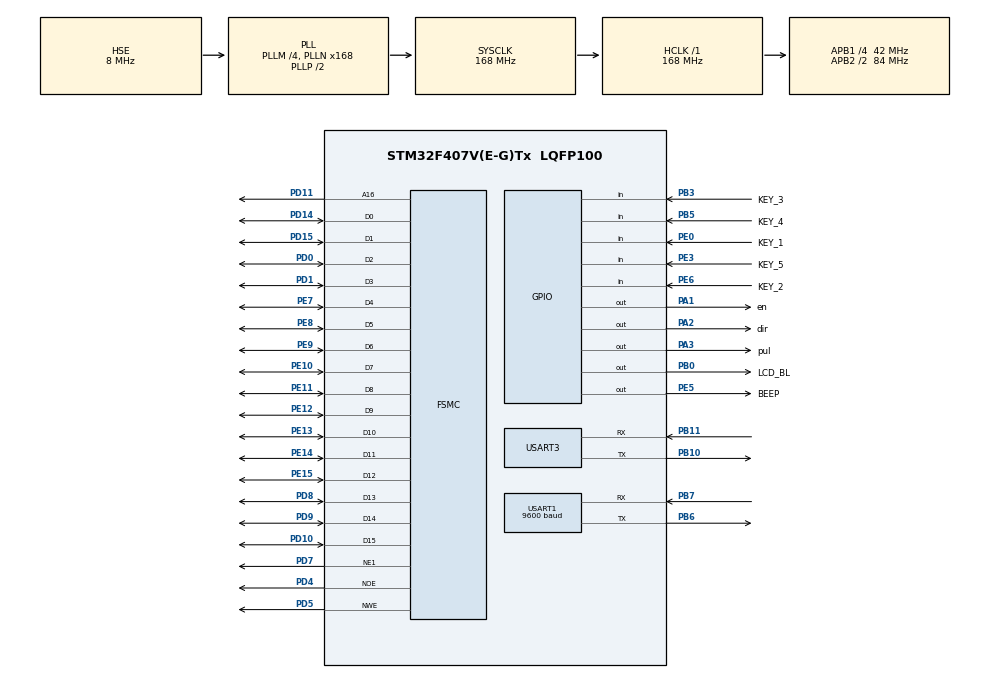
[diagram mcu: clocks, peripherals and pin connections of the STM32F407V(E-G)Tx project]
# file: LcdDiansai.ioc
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Dma.Request0=USART1_RX
Dma.Request1=USART3_RX
Dma.USART1_RX.0.Direction=DMA_PERIPH_TO_MEMORY
Dma.USART1_RX.0.FIFOMode=DMA_FIFOMODE_DISABLE
Dma.USART1_RX.0.Instance=DMA2_Stream2
Dma.USART1_RX.0.MemDataAlignment=DMA_MDATAALIGN_BYTE
Dma.USART1_RX.0.MemInc=DMA_MINC_ENABLE
Dma.USART1_RX.0.Mode=DMA_NORMAL
Dma.USART1_RX.0.PeriphDataAlignment=DMA_PDATAALIGN_BYTE
Dma.USART1_RX.0.PeriphInc=DMA_PINC_DISABLE
Dma.USART1_RX.0.Priority=DMA_PRIORITY_LOW
Dma.USART3_RX.1.Direction=DMA_PERIPH_TO_MEMORY
Dma.USART3_RX.1.FIFOMode=DMA_FIFOMODE_DISABLE
Dma.USART3_RX.1.Instance=DMA1_Stream1
Dma.USART3_RX.1.MemDataAlignment=DMA_MDATAALIGN_BYTE
Dma.USART3_RX.1.MemInc=DMA_MINC_ENABLE
Dma.USART3_RX.1.Mode=DMA_NORMAL
Dma.USART3_RX.1.PeriphDataAlignment=DMA_PDATAALIGN_BYTE
Dma.USART3_RX.1.PeriphInc=DMA_PINC_DISABLE
Dma.USART3_RX.1.Priority=DMA_PRIORITY_LOW
FSMC.DataSetupTime1=60
FSMC.ExtendedAddressSetupTime1=9
FSMC.ExtendedBusTurnAroundDuration1=0
FSMC.ExtendedDataSetupTime1=8
FSMC.ExtendedMode1=FSMC_EXTENDED_MODE_ENABLE
Mcu.Family=STM32F4
Mcu.Name=STM32F407V(E-G)Tx
Mcu.Package=LQFP100
NVIC.DMA1_Stream1_IRQn=true\:0\:0\:false\:false\:true\:false\:true\:true
NVIC.DMA2_Stream2_IRQn=true\:0\:0\:false\:false\:true\:false\:true\:true
NVIC.PriorityGroup=NVIC_PRIORITYGROUP_4
NVIC.USART1_IRQn=true\:0\:0\:false\:false\:true\:true\:true\:true
NVIC.USART3_IRQn=true\:0\:0\:false\:false\:true\:true\:true\:true
PA1.GPIO_Label=en
PA1.Signal=GPIO_Output
PA13.Mode=Serial_Wire
PA13.Signal=SYS_JTMS-SWDIO
PA14.Mode=Serial_Wire
PA14.Signal=SYS_JTCK-SWCLK
PA2.GPIO_Label=dir
PA2.Signal=GPIO_Output
PA3.GPIO_Label=pul
PA3.Signal=GPIO_Output
PB0.GPIO_Label=LCD_BL
PB0.GPIO_PuPd=GPIO_PULLUP
PB0.GPIO_Speed=GPIO_SPEED_FREQ_LOW
PB0.PinState=GPIO_PIN_SET
PB0.Signal=GPIO_Output
PB10.Mode=Asynchronous
PB10.Signal=USART3_TX
PB11.Mode=Asynchronous
PB11.Signal=USART3_RX
PB3.GPIO_Label=KEY_3
PB3.Signal=GPIO_Input
PB5.GPIO_Label=KEY_4
PB5.Signal=GPIO_Input
PB6.Mode=Asynchronous
PB6.Signal=USART1_TX
PB7.Mode=Asynchronous
PB7.Signal=USART1_RX
PC14-OSC32_IN.Mode=LSE-External-Oscillator
PC14-OSC32_IN.Signal=RCC_OSC32_IN
PC15-OSC32_OUT.Mode=LSE-External-Oscillator
PC15-OSC32_OUT.Signal=RCC_OSC32_OUT
PD0.Mode=16b-d1
PD0.Signal=FSMC_D2
PD1.Mode=16b-d1
PD1.Signal=FSMC_D3
PD10.Mode=16b-d1
PD10.Signal=FSMC_D15
PD11.Mode=A16_1
PD11.Signal=FSMC_A16
PD14.Mode=16b-d1
PD14.Signal=FSMC_D0
PD15.Mode=16b-d1
PD15.Signal=FSMC_D1
PD4.Mode=Lcd1
PD4.Signal=FSMC_NOE
PD5.Mode=Lcd1
PD5.Signal=FSMC_NWE
PD7.Mode=NorPsramChipSelect1_1
PD7.Signal=FSMC_NE1
PD8.Mode=16b-d1
PD8.Signal=FSMC_D13
PD9.Mode=16b-d1
PD9.Signal=FSMC_D14
PE0.GPIO_Label=KEY_1
PE0.Signal=GPIO_Input
PE10.Mode=16b-d1
PE10.Signal=FSMC_D7
PE11.Mode=16b-d1
PE11.Signal=FSMC_D8
PE12.Mode=16b-d1
PE12.Signal=FSMC_D9
PE13.Mode=16b-d1
PE13.Signal=FSMC_D10
PE14.Mode=16b-d1
PE14.Signal=FSMC_D11
PE15.Mode=16b-d1
PE15.Signal=FSMC_D12
PE3.GPIO_Label=KEY_5
PE3.Signal=GPIO_Input
PE5.GPIO_Label=BEEP
PE5.Signal=GPIO_Output
PE6.GPIO_Label=KEY_2
PE6.Signal=GPIO_Input
PE7.Mode=16b-d1
PE7.Signal=FSMC_D4
PE8.Mode=16b-d1
PE8.Signal=FSMC_D5
PE9.Mode=16b-d1
PE9.Signal=FSMC_D6
PH0-OSC_IN.Mode=HSE-External-Oscillator
PH0-OSC_IN.Signal=RCC_OSC_IN
PH1-OSC_OUT.Mode=HSE-External-Oscillator
PH1-OSC_OUT.Signal=RCC_OSC_OUT
ProjectManager.HeapSize=0x200
ProjectManager.StackSize=0x400
ProjectManager.TargetToolchain=MDK-ARM V5.32
RCC.48MHZClocksFreq_Value=84000000
RCC.AHBFreq_Value=168000000
RCC.APB1CLKDivider=RCC_HCLK_DIV4
RCC.APB1Freq_Value=42000000
RCC.APB1TimFreq_Value=84000000
RCC.APB2CLKDivider=RCC_HCLK_DIV2
RCC.APB2Freq_Value=84000000
RCC.APB2TimFreq_Value=168000000
RCC.CortexFreq_Value=168000000
RCC.HCLKFreq_Value=168000000
RCC.HSE_VALUE=8000000
RCC.HSI_VALUE=16000000
RCC.PLLM=4
RCC.PLLN=168
RCC.PLLSourceVirtual=RCC_PLLSOURCE_HSE
RCC.SYSCLKFreq_VALUE=168000000
RCC.SYSCLKSource=RCC_SYSCLKSOURCE_PLLCLK
RCC.VCOOutputFreq_Value=336000000
TIM5.Prescaler=83
USART1.BaudRate=9600
USART1.VirtualMode=VM_ASYNC
USART3.VirtualMode=VM_ASYNC
VP_TIM5_VS_ClockSourceINT.Mode=Internal
board=custom

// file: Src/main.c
/* USER CODE BEGIN Header */
/**
  ******************************************************************************
  * @file           : main.c
  * @brief          : Main program body
  ******************************************************************************
  * @attention
  *
  * Copyright (c) 2022 STMicroelectronics.
  * All rights reserved.
  *
  * This software is licensed under terms that can be found in the LICENSE file
  * in the root directory of this software component.
  * If no LICENSE file comes with this software, it is provided AS-IS.
  *
  ******************************************************************************
  */
/* USER CODE END Header */
#include "main.h"
#include "dma.h"
#include "tim.h"
#include "usart.h"
#include "gpio.h"
#include "fsmc.h"

/* USER CODE BEGIN Includes */
#include "lcd.h"
#include "laser.h"
#include "vmsgexec.h"
#include <string.h>
#include <stdio.h>
#include "duoji.h"
#include <math.h>
/* USER CODE END Includes */

void SystemClock_Config(void);

/* USER CODE BEGIN 0 */
void beep_on(void)
{
  HAL_GPIO_WritePin(BEEP_GPIO_Port, BEEP_Pin, GPIO_PIN_RESET);
}

void beep_off(void)
{
  HAL_GPIO_WritePin(BEEP_GPIO_Port, BEEP_Pin, GPIO_PIN_SET);
}

#define KEY_DELAY_TIME 30
#define KEY_NULL 0
#define KEY_1 1
#define KEY_2 2
#define KEY_3 3
#define KEY_4 4
#define KEY_5 5
/**
 * @brief 扫描按键
 *
 * @return uint8_t 返回按键的�?�，0 为没有按下按�???
 */
uint8_t key_scan()
{
  if (HAL_GPIO_ReadPin(KEY_1_GPIO_Port, KEY_1_Pin) == GPIO_PIN_RESET) {
    HAL_Delay(KEY_DELAY_TIME);
    if (HAL_GPIO_ReadPin(KEY_1_GPIO_Port, KEY_1_Pin) == GPIO_PIN_RESET) {
      return KEY_1;
    }
  }
  else if (HAL_GPIO_ReadPin(KEY_2_GPIO_Port, KEY_2_Pin) == GPIO_PIN_RESET) {
    HAL_Delay(KEY_DELAY_TIME);
    if (HAL_GPIO_ReadPin(KEY_2_GPIO_Port, KEY_2_Pin) == GPIO_PIN_RESET) {
      return KEY_2;
    }
  }
   else if (HAL_GPIO_ReadPin(KEY_3_GPIO_Port, KEY_3_Pin) == GPIO_PIN_RESET) {
    HAL_Delay(KEY_DELAY_TIME);
    if (HAL_GPIO_ReadPin(KEY_3_GPIO_Port, KEY_3_Pin) == GPIO_PIN_RESET) {
      return KEY_3;
    }
  }
  else if (HAL_GPIO_ReadPin(KEY_4_GPIO_Port, KEY_4_Pin) == GPIO_PIN_RESET) {
    HAL_Delay(KEY_DELAY_TIME);
    if (HAL_GPIO_ReadPin(KEY_4_GPIO_Port, KEY_4_Pin) == GPIO_PIN_RESET) {
      return KEY_4;
    }
  }
  else if (HAL_GPIO_ReadPin(KEY_5_GPIO_Port, KEY_5_Pin) == GPIO_PIN_RESET) {
    HAL_Delay(KEY_DELAY_TIME);
    if (HAL_GPIO_ReadPin(KEY_5_GPIO_Port, KEY_5_Pin) == GPIO_PIN_RESET) {
      return KEY_5;
    }
  }

  return KEY_NULL;
}

#define myprintf(...)  HAL_UART_Transmit((UART_HandleTypeDef *)&huart3, (uint8_t *)u_buf,\
		                                sprintf((char*)u_buf,__VA_ARGS__), 0xFFFF);
uint8_t u_buf[256];

enum find_status  {FINDING_OBJ = 0, FIND_SIT = 1};
enum way_to_go  {ZHEN = 0, FAN = 1, JINZHI = 2};
volatile enum find_status nom_find_status = FINDING_OBJ;
enum way_to_go nom_way_to_go = JINZHI;
volatile uint8_t way_flag = 0; // 0 正转 1 反转

/**
 * 如果发现了对象
 *  根据当前的电机状态，如果正在正转，则状态为搜索对象边沿
 *
 *  如果搜索到对象边沿，反向，记录，继续运行
 *
 */

typedef struct scan_object_t{
  volatile	uint8_t fundobject;
  volatile	float min_len;
  volatile	float min_angle;
  volatile	uint8_t count;
	Date date[6];
}scan_object_t;

//此结构体用于第四问追踪物体
typedef struct scan_find_object_t{
  volatile	uint8_t fundobject;
  volatile	float min_len;
  volatile	float min_angle;
  volatile	uint8_t count;
  Date date_old;        //最少11
	Date date_nom;        //最少11
}scan_find_object_t;

scan_object_t scan_object={0};
scan_find_object_t scan_find_object={0};

void scan_init()
{
  memset(&scan_object, 0, sizeof(scan_object_t));
}

/**
 * @brief  处理消息队列中的消息，已经pop到了nowmsg�????
 * @note
 * @retval None
 */
void step1_handle_msg(msg_t * pmsg)
{
	if(scan_object.fundobject == 0){		//第一
    if(pmsg->msgdata.len *100  < 81){
			myprintf("scan_object.fundobject------------------------------\r\n");
			scan_object.min_len = pmsg->msgdata.len;
			scan_object.min_angle = pmsg->msgdata.angle;
			scan_object.fundobject = 1;

		}
		// else{
		// 	if(scan_object.min_len > pmsg->msgdata.len){
		// 		scan_object.min_len = pmsg->msgdata.len;
		// 	}
		// }
	}
  else {
    if(scan_object.min_len > pmsg->msgdata.len){
      scan_object.min_len = pmsg->msgdata.len;
    }

    if (pmsg->msgdata.len *100  >= 81){
      //接口---返回距离
      scan_object.fundobject = 0;
      scan_object.date[scan_object.count].len = scan_object.min_len;
      scan_object.date[scan_object.count].angle = scan_object.min_angle;
      myprintf("The count = %d, len = %f, angle=%f\r\n ",
        scan_object.count,
        scan_object.date[scan_object.count].len * 100,
        scan_object.min_angle);
      myprintf("leave object+++++++++++++++++\r\n");

      scan_object.count++;

      sprintf((char*)u_buf, "obj:%d, len:%.1f, angle:%.2f", scan_object.count,  scan_object.min_len*100, scan_object.min_angle);
      LCD_ShowString(20,60,200,16,16, u_buf);

      if(scan_object.count >= 10){
        scan_object.count = 0;
      }
      beep_on(); HAL_Delay(10); beep_off();
    }
	}

	myprintf("len = %f\r\n", pmsg->msgdata.len);

}

#define TEST_STEP1 2
void test1()
{
  int32_t nowstep = 0;
  uint8_t nowkey;

  vwm_init(step1_handle_msg);

  //蜂鸣器叫
  beep_on();
  HAL_Delay(500);
  beep_off();

  LCD_Clear(WHITE);
  POINT_COLOR = BLACK;
  LCD_ShowString(20,30,200,16,16,"Return to Zero");

  duoji_runto_zero();
  scan_init();
  LCD_ShowString(20,30,200,16,16,"Test1 Start Press OK");
  vwm_init(NULL);
  while (1) {
    nowkey = key_scan();
    if (nowkey == KEY_3) { //确定
      beep_on(); HAL_Delay(20); beep_off();
      break;
    }
    else if (nowkey == KEY_4) {//取消
      beep_on(); HAL_Delay(20); beep_off();
      return;
    }

    vwm_exec();
  }

  vwm_init(step1_handle_msg);

  LCD_ShowString(20,30,200,16,16,"Test1 Process on");

  while (1) {
    if (nowstep < DUOJI_XIFEN / 2) {
      zhengzhuan(TEST_DELAY_TIME, TEST_STEP1);
      nowstep += TEST_STEP1;

      if (nowstep >= DUOJI_XIFEN / 2) {
        //显示结果
        beep_on(); HAL_Delay(300); beep_off();
      }
    }
    else {
      //显示结果
      nowkey = key_scan();

      if (nowkey == KEY_4) {//取消
        beep_on(); HAL_Delay(20); beep_off();
        LCD_ShowString(20,30,200,16,16,"Return to Zero");

        duoji_runto_zero();
        return;
      }
    }

    vwm_exec();
  }

}

#define TEST_STEP2 2
void test2()
{
  int32_t nowstep = 0;
  uint8_t nowkey;

  uint8_t maxlen = 0;
  uint8_t editindex = 0;
  uint8_t i;

  char maxlen_char[2] = {'6', '7'};

  scan_init();
  vwm_init(step1_handle_msg);

  //蜂鸣器叫
  beep_on();
  HAL_Delay(100);
  beep_off();

  LCD_Clear(WHITE);
  POINT_COLOR = BLACK;

  LCD_ShowString(20,30,200,16,16,"Return to Zero");
  duoji_runto_zero();
  LCD_ShowString(20,30,200,16,16,"Test2 Input Max Len");

  LCD_ShowChar(20, 90, maxlen_char[0], 16, 0);
  LCD_ShowChar(40, 90, maxlen_char[1], 16, 0);
  vwm_init(NULL);
  scan_init();

  while (1) {
    nowkey = key_scan();
    if (nowkey == KEY_1) {
      beep_on(); HAL_Delay(20); beep_off();
      if (editindex == 0) {
        if (maxlen_char[0] < '6') {
          maxlen_char[0]++;
        }
        else {
          maxlen_char[0] = '0';
        }

        LCD_ShowChar(20, 90, maxlen_char[0], 16, 0);
      }
      else {
        if (maxlen_char[1] < '9') {
          maxlen_char[1]++;
        }
        else {
          maxlen_char[1] = '0';
        }

        LCD_ShowChar(40, 90, maxlen_char[1], 16, 0);
      }
      while(key_scan() != KEY_NULL) {};
    }
    else if (nowkey == KEY_2) {
      beep_on(); HAL_Delay(20); beep_off();
      if (editindex == 0) {
        if (maxlen_char[0] > '0') {
          maxlen_char[0]--;
        }
        else {
          maxlen_char[0] = '6';
        }

        LCD_ShowChar(20, 90, maxlen_char[0], 16, 0);
      }
      else {
        if (maxlen_char[1] > '0') {
          maxlen_char[1]--;
        }
        else {
          maxlen_char[1] = '9';
        }

        LCD_ShowChar(40, 90, maxlen_char[1], 16, 0);
      }
      while(key_scan() != KEY_NULL) {};
    }
    else if (nowkey == KEY_3) { //确定
      beep_on(); HAL_Delay(20); beep_off();
      editindex++;
      if (editindex >= 2) {
        //完成，准备测�?
        LCD_ShowString(20,30,200,16,16,"Test2 Start Press OK");
        break;
      }
      while(key_scan() != KEY_NULL) {};
    }
    else if (nowkey == KEY_4) {//取消
      return;
    }
    vwm_exec();
  }

  while (1) {
    nowkey = key_scan();
    if (nowkey == KEY_3) { //确定
      break;
    }
    else if (nowkey == KEY_4) {//取消
      return;
    }
    vwm_exec();
  }

  LCD_ShowString(20,30,200,16,16,"Test2 Process on");
  vwm_init(step1_handle_msg);
  while (1) {
    if (nowstep < DUOJI_XIFEN / 2) {
      zhengzhuan(TEST_DELAY_TIME, TEST_STEP2);
      nowstep += TEST_STEP2;

      if (nowstep >= DUOJI_XIFEN / 2) {
        //显示结果
        nowkey = 0;
        maxlen = (maxlen_char[0] - '0') * 10 + (maxlen_char[1] - '0');
        for (i=0; i<scan_object.count; i++) {
          if (scan_object.date[i].len*100 < maxlen) {
            nowkey++;
          }
        }

        sprintf((char*)u_buf, "ObjCount:%d", nowkey);
        LCD_ShowString(20,120,200,16,16,u_buf);
        beep_on(); HAL_Delay(300); beep_off();
      }
    }
    else {
      //显示结果
      nowkey = key_scan();

      if (nowkey == KEY_4) {//取消
        beep_on(); HAL_Delay(20); beep_off();
        LCD_ShowString(20,30,200,16,16,"Return to Zero");

        duoji_runto_zero();
        return;
      }
    }

    vwm_exec();
  }

}

#define PI 3.141592653589793

typedef struct task3_t{
    float shortest_distence;
    int index1, index2;
}task3_t;
task3_t task3 = {0};

void test3_calc_shortest(void)
{
    float distance = 0.0;
    int i, j;
    memset(&task3, 0, sizeof(task3_t));
    if (scan_object.count > 1) {
      task3.shortest_distence = 3000;

      for(i = 0; i < scan_object.count - 1; i++){
          for(j = i + 1; j < scan_object.count; j++){
              distance = sqrt(scan_object.date[i].len * scan_object.date[i].len +
                  scan_object.date[j].len * scan_object.date[j].len -
                  2 * scan_object.date[i].len * scan_object.date[j].len *
                  cos((scan_object.date[i].angle - scan_object.date[j].angle)*PI/180));
              if(distance < task3.shortest_distence){
                  task3.shortest_distence = distance;
                  task3.index1 = i;
                  task3.index2 = j;
              }
          }
      }

    }
}

#define TEST_STEP3 2
void test3()
{
  int32_t nowstep = 0;
  uint8_t nowkey;

  vwm_init(step1_handle_msg);

  //蜂鸣器叫
  beep_on();
  HAL_Delay(300);
  beep_off();

  LCD_Clear(WHITE);
  POINT_COLOR = BLACK;
  LCD_ShowString(20,30,200,16,16,"Return to Zero");

  duoji_runto_zero();
  scan_init();
  LCD_ShowString(20,30,200,16,16,"Test3 Start Press OK");

  vwm_init(NULL);
  while (1) {
    nowkey = key_scan();
    if (nowkey == KEY_3) { //确定
      beep_on(); HAL_Delay(20); beep_off();
      break;
    }
    else if (nowkey == KEY_4) {//取消
      beep_on(); HAL_Delay(20); beep_off();
      return;
    }

    vwm_exec();
  }

  scan_init();
  vwm_init(step1_handle_msg);

  LCD_ShowString(20,30,200,16,16,"Test3 Process on");

  while (1) {
    if (nowstep < DUOJI_XIFEN / 2) {
      zhengzhuan(TEST_DELAY_TIME, TEST_STEP3);
      nowstep += TEST_STEP3;

      if (nowstep >= DUOJI_XIFEN / 2) {
        //显示结果
        test3_calc_shortest();

        //显示结果
        LCD_ShowString(20,30,200,16,16,"Test3 Finish OK!!!");

        sprintf((char*)u_buf, "ID1:%d,ID2:%d,Dis:%.2fcm", task3.index1, task3.index2, task3.shortest_distence*100);
        LCD_ShowString(20,60,200,16,16,u_buf);
        beep_on(); HAL_Delay(300); beep_off();

      }
    }
    else {
      //显示结果
      nowkey = key_scan();

      if (nowkey == KEY_4) {//取消
        beep_on(); HAL_Delay(20); beep_off();
        LCD_ShowString(20,30,200,16,16,"Return to Zero");

        duoji_runto_zero();
        return;
      }
    }

    vwm_exec();
  }
}

#if 0
void step4_handle_msg(msg_t * pmsg)
{
  if(nom_find_status == FINDING_OBJ){
    if(scan_find_object.fundobject == 0){		//如果还没有检测到物体
      if(pmsg->msgdata.len *100  <= 81){
        myprintf("scan_object.fundobject------------------------------\r\n");
        scan_find_object.min_len = pmsg->msgdata.len;
        scan_find_object.min_angle = pmsg->msgdata.angle;
        scan_find_object.fundobject = 1;
        nom_find_status = FIND_SIT;
      }
	  }
    else {
      nom_find_status = FIND_SIT;
    }
  }
  else if(nom_find_status == FIND_SIT){
      if (scan_find_object.fundobject == 1) { //以及找到物体，找出去的边沿
        if(scan_find_object.min_len > pmsg->msgdata.len){
          scan_find_object.min_len = pmsg->msgdata.len;
        }

        if (pmsg->msgdata.len *100  > 81){
          //接口---返回距离
          //如果已经出去了，换向并重新进行物体搜寻
          scan_find_object.fundobject = 0;

          //换向

          way_flag = way_flag + 1;
          way_flag = way_flag % 2;

          LCD_DrawPoint_angle(scan_find_object.date_nom.len, scan_find_object.date_nom.angle);
          // beep_on(); HAL_Delay(2); beep_off();
        }
      }
      else if (scan_find_object.fundobject == 0) { //正在搜寻物体，找进去的边沿
        if(pmsg->msgdata.len *100  <= 81){
          myprintf("scan_object.fundobject------------------------------\r\n");
          scan_find_object.min_len = pmsg->msgdata.len;
          scan_find_object.min_angle = pmsg->msgdata.angle;
          scan_find_object.fundobject = 1;
        }

      }

    //if(scan_find_object.fundobject == 0){		//第一
      if(pmsg->msgdata.len *100  < 81 ){
        scan_find_object.min_len = pmsg->msgdata.len;
        scan_find_object.min_angle = pmsg->msgdata.angle;

        scan_find_object.date_nom.len = scan_find_object.min_len;
        scan_find_object.date_nom.angle = scan_find_object.min_angle;

        if(scan_find_object.date_nom.angle > scan_find_object.date_old.angle )
        {
          nom_way_to_go = ZHEN;
          LCD_DrawLine_angles(scan_find_object.date_old.len,scan_find_object.date_old.angle,
                              scan_find_object.date_nom.len, scan_find_object.date_nom.angle);
          scan_find_object.date_old.len = scan_find_object.date_nom.len;
          scan_find_object.date_old.angle = scan_find_object.date_nom.angle;
          beep_on(); HAL_Delay(2); beep_off();
        }
        else if(scan_find_object.date_nom.angle < scan_find_object.date_old.angle )
        {
          nom_way_to_go = FAN;
          LCD_DrawLine_angles(scan_find_object.date_old.len,scan_find_object.date_old.angle,
                              scan_find_object.date_nom.len, scan_find_object.date_nom.angle);
          scan_find_object.date_old.len = scan_find_object.date_nom.len;
          scan_find_object.date_old.angle = scan_find_object.date_nom.angle;
          beep_on(); HAL_Delay(2); beep_off();
        }
        else {
          nom_way_to_go = JINZHI;
          beep_on(); HAL_Delay(2); beep_off();
        }
        LCD_DrawPoint_angle(scan_find_object.date_nom.len, scan_find_object.date_nom.angle);

        }
        else {

        }

    //  }
  }

}
#endif
uint8_t test4_delay_time = 4;
void step4_handle_msg(msg_t * pmsg)
{
    if(scan_find_object.fundobject == 0){		//如果还没有检测到物体
      if(pmsg->msgdata.len *100  <= 81){
        //myprintf("scan_object.fundobject, way: %d\r\n", way_flag);
        scan_find_object.min_len = pmsg->msgdata.len;
        scan_find_object.min_angle = pmsg->msgdata.angle;
        scan_find_object.fundobject = 1;
        test4_delay_time = 5;

        beep_on(); HAL_Delay(5); beep_off();
        POINT_COLOR = RED;
        //LCD_DrawLine_angles(scan_find_object.min_len,scan_find_object.min_angle,  scan_find_object.date_old.len, scan_find_object.date_old.angle);
        LCD_DrawPoint_angle(scan_find_object.min_len, scan_find_object.min_angle);
        scan_find_object.date_old.angle = scan_find_object.min_angle;
        scan_find_object.date_old.len = scan_find_object.min_len;

      }
	  }
    else if (scan_find_object.fundobject == 1) { //以及找到物体，找出去的边沿
      if(scan_find_object.min_len > pmsg->msgdata.len){
        scan_find_object.min_len = pmsg->msgdata.len;
        scan_find_object.min_angle = pmsg->msgdata.angle;
        POINT_COLOR = RED;
        //LCD_DrawLine_angles(scan_find_object.min_len,scan_find_object.min_angle,  scan_find_object.date_old.len, scan_find_object.date_old.angle);
        LCD_DrawPoint_angle(scan_find_object.min_len, scan_find_object.min_angle);
        scan_find_object.date_old.angle = scan_find_object.min_angle;
        scan_find_object.date_old.len = scan_find_object.min_len;
      }

      if (pmsg->msgdata.len *100  > 81){
        //如果已经出去了，换向并重新进行物体搜寻
        scan_find_object.fundobject = 0;
        //test4_delay_time = 4;

        //换向

        way_flag = way_flag + 1;
        way_flag = way_flag % 2;
        beep_on(); HAL_Delay(5); beep_off();

        //LCD_DrawPoint_angle(scan_find_object.min_len, scan_find_object.min_angle);
        // beep_on(); HAL_Delay(2); beep_off();
        //myprintf("scan_object.outobject，way:%d\r\n", way_flag);
      }
    }

    //myprintf("len = %f\r\n", pmsg->msgdata.len);

}

#define ADD_PAUSED 70

void test4()
{
  int32_t nowstep = 0;
  uint8_t nowkey;

  vwm_init(NULL);
  //蜂鸣器叫
  beep_on();
  HAL_Delay(300);
  beep_off();

  LCD_Clear(WHITE);
  POINT_COLOR = BLACK;
  LCD_ShowString(20,30,200,16,16,"Return to Zero");

  duoji_runto_zero();

  LCD_ShowString(20,30,200,16,16,"Test4 Start Press OK");

  //laser_20Hz();
  scan_init();
  vwm_init(step4_handle_msg);

  way_flag = 0; //正转
  nowstep = 0;
  LCD_Clear(WHITE);
  POINT_COLOR = BLACK;
  LCD_DrawLine(0,160,160,160);
  LCD_DrawLine(160,0,160,160);
  LCD_DrawLine(0,80,160,80);
  LCD_DrawLine(80,0,80,160);
  while (1) {
    if (way_flag == 0) { //正转
      if (nowstep < DUOJI_XIFEN / 2) {
        zhengzhuan(test4_delay_time, TEST_STEP1);
        nowstep += TEST_STEP1;

        if (nowstep >= DUOJI_XIFEN / 2) {
          //显示结果
          beep_on(); HAL_Delay(10); beep_off();
          way_flag = 1; //反转
        }
      }
      else {
        way_flag = 1; //反转
      }
    }
    else if(way_flag == 1){
      if (nowstep > 0) {
        fanzhuan(test4_delay_time, TEST_STEP1);
        nowstep -= TEST_STEP1;

        if (nowstep <= 0) {
          //显示结果
          beep_on(); HAL_Delay(10); beep_off();
          way_flag = 0; //反转
        }
      }
      else {
        way_flag = 0; //反转
      }
    }

    //显示结果
    nowkey = key_scan();

    if (nowkey == KEY_4) {//取消
      beep_on(); HAL_Delay(20); beep_off();
      LCD_ShowString(20,30,200,16,16,"Return to Zero");

      duoji_runto_zero();
      return;
    }

    vwm_exec();
  }

}
/* USER CODE END 0 */

int main(void)
{
  /* USER CODE BEGIN 1 */
	uint8_t x=0;
	uint8_t nowkey;
  /* USER CODE END 1 */

  /* MCU Configuration--------------------------------------------------------*/

  /* Reset of all peripherals, Initializes the Flash interface and the Systick. */
  HAL_Init();

  /* Configure the system clock */
  SystemClock_Config();

  /* Initialize all configured peripherals */
  MX_GPIO_Init();
  MX_DMA_Init();
  MX_FSMC_Init();
  MX_USART1_UART_Init();
  MX_USART3_UART_Init();
  MX_TIM5_Init();
  /* USER CODE BEGIN 2 */
  beep_on(); HAL_Delay(200); beep_off();
	HAL_Delay(168);
	LCD_Init();
	LCD_Clear(BLUE);
	POINT_COLOR = RED;
	HAL_GPIO_WritePin(GPIOB,GPIO_PIN_0,GPIO_PIN_SET);

	// __HAL_UART_CLEAR_IDLEFLAG(&huart1);
	// __HAL_UART_ENABLE_IT(&huart1, UART_IT_IDLE);
	// HAL_UART_Receive_DMA(&huart1, (uint8_t*)g_laser.rev_buffer, 22);

  laser_init(&huart1);

  LCD_Clear(WHITE);
  POINT_COLOR = BLACK;

  // LCD_DrawLine_angles(40,60,60,150);
  // while (1);
  //LCD_ShowString(20,30,200,16,16,"Select Test Item");

  // while (1) {
  //   zhengzhuan(5, 800);
  // }

  //接收按键选择
  while (1) {
    nowkey = key_scan();
    if (nowkey != KEY_NULL) {
      switch (nowkey) {
        case KEY_1:
          test1();
          break;

        case KEY_2:
          test2();
        break;

        case KEY_3:
          test3();
          break;

        case KEY_4:
          test4();
          break;
      }

      vwm_init(NULL);
      //刷新主界
      LCD_Clear(WHITE);
      POINT_COLOR = BLACK;
      LCD_ShowString(20,30,200,16,16,"Select Test Item");
    }
  }
  test1();
  /* USER CODE END 2 */

  /* Infinite loop */
  /* USER CODE BEGIN WHILE */
	//LCD_ShowString(0,0,120,20,24,"WWW");
  while (1)
  {
//		switch(x)
//		{
//			case 0:LCD_Clear(WHITE);break;
//			case 1:LCD_Clear(BLACK);break;
//			case 2:LCD_Clear(BLUE);break;
//			case 3:LCD_Clear(RED);break;
//			case 4:LCD_Clear(MAGENTA);break;
//			case 5:LCD_Clear(GREEN);break;
//			case 6:LCD_Clear(CYAN);break;
//			case 7:LCD_Clear(YELLOW);break;
//			case 8:LCD_Clear(BRRED);break;
//			case 9:LCD_Clear(GRAY);break;
//			case 10:LCD_Clear(LGRAY);break;
//			case 11:LCD_Clear(BROWN);break;
//		}
//		POINT_COLOR=RED;
//		LCD_ShowString(30,40,210,24,24,"Explorer STM32F4");
//		LCD_ShowString(30,70,200,16,16,"TFTLCD TEST");
//		LCD_ShowString(30,90,200,16,16,"ATOM@ALIENTEK");
// 		//LCD_ShowString(30,110,200,16,16,lcd_id);		//��ʾLCD ID
//		LCD_ShowString(30,130,200,12,12,"2017/4/8");
//		x++;
//		if(x==12)x=0;
//
//		HAL_Delay(1000);
//
//		key = matrix_keyboard_scan(&g_keyboard);
//		duoji_to_angle(180);

    /* USER CODE END WHILE */

  }
}

void SystemClock_Config(void)
{
  RCC_OscInitTypeDef RCC_OscInitStruct = {0};
  RCC_ClkInitTypeDef RCC_ClkInitStruct = {0};

  /** Configure the main internal regulator output voltage
  */
  __HAL_RCC_PWR_CLK_ENABLE();
  __HAL_PWR_VOLTAGESCALING_CONFIG(PWR_REGULATOR_VOLTAGE_SCALE1);

  /** Initializes the RCC Oscillators according to the specified parameters
  * in the RCC_OscInitTypeDef structure.
  */
  RCC_OscInitStruct.OscillatorType = RCC_OSCILLATORTYPE_HSE;
  RCC_OscInitStruct.HSEState = RCC_HSE_ON;
  RCC_OscInitStruct.PLL.PLLState = RCC_PLL_ON;
  RCC_OscInitStruct.PLL.PLLSource = RCC_PLLSOURCE_HSE;
  RCC_OscInitStruct.PLL.PLLM = 4;
  RCC_OscInitStruct.PLL.PLLN = 168;
  RCC_OscInitStruct.PLL.PLLP = RCC_PLLP_DIV2;
  RCC_OscInitStruct.PLL.PLLQ = 4;
  if (HAL_RCC_OscConfig(&RCC_OscInitStruct) != HAL_OK)
  {
    Error_Handler();
  }

  /** Initializes the CPU, AHB and APB buses clocks
  */
  RCC_ClkInitStruct.ClockType = RCC_CLOCKTYPE_HCLK|RCC_CLOCKTYPE_SYSCLK
                              |RCC_CLOCKTYPE_PCLK1|RCC_CLOCKTYPE_PCLK2;
  RCC_ClkInitStruct.SYSCLKSource = RCC_SYSCLKSOURCE_PLLCLK;
  RCC_ClkInitStruct.AHBCLKDivider = RCC_SYSCLK_DIV1;
  RCC_ClkInitStruct.APB1CLKDivider = RCC_HCLK_DIV4;
  RCC_ClkInitStruct.APB2CLKDivider = RCC_HCLK_DIV2;

  if (HAL_RCC_ClockConfig(&RCC_ClkInitStruct, FLASH_LATENCY_5) != HAL_OK)
  {
    Error_Handler();
  }
}

void Error_Handler(void)
{
  __disable_irq();
  while (1)
  {
  }
}
